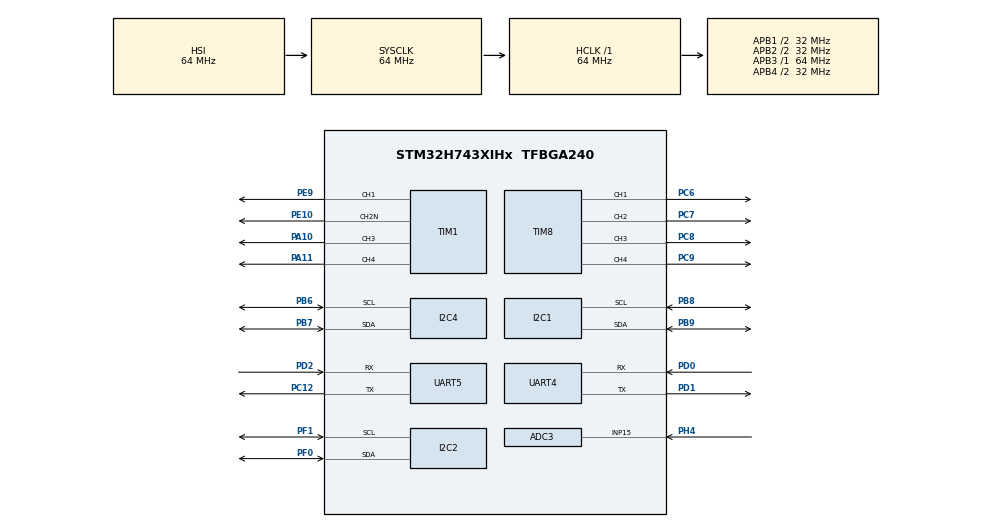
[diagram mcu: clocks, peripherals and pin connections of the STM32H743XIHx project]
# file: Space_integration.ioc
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ADC3.Channel-0\#ChannelRegularConversion=ADC_CHANNEL_15
ADC3.NbrOfConversionFlag=1
ADC3.OffsetNumber-0\#ChannelRegularConversion=ADC_OFFSET_NONE
ADC3.OffsetSignedSaturation-0\#ChannelRegularConversion=DISABLE
ADC3.Rank-0\#ChannelRegularConversion=1
ADC3.SamplingTime-0\#ChannelRegularConversion=ADC_SAMPLETIME_1CYCLE_5
CORTEX_M7.default_mode_Activation=1
I2C1.Timing=0x00707CBB
I2C2.Timing=0x00707CBB
I2C4.Timing=0x00707CBB
Mcu.Family=STM32H7
Mcu.Name=STM32H743XIHx
Mcu.Package=TFBGA240
NVIC.PriorityGroup=NVIC_PRIORITYGROUP_4
PA10.Signal=S_TIM1_CH3
PA11.Signal=S_TIM1_CH4
PB6.Mode=I2C
PB6.Signal=I2C4_SCL
PB7.Mode=I2C
PB7.Signal=I2C4_SDA
PB8.Mode=I2C
PB8.Signal=I2C1_SCL
PB9.Mode=I2C
PB9.Signal=I2C1_SDA
PC12.Mode=Asynchronous
PC12.Signal=UART5_TX
PC6.Signal=S_TIM8_CH1
PC7.Signal=S_TIM8_CH2
PC8.Signal=S_TIM8_CH3
PC9.Signal=S_TIM8_CH4
PD0.Mode=Asynchronous
PD0.Signal=UART4_RX
PD1.Mode=Asynchronous
PD1.Signal=UART4_TX
PD2.Mode=Asynchronous
PD2.Signal=UART5_RX
PE10.Mode=PWM Generation2 CH2N
PE10.Signal=TIM1_CH2N
PE9.Signal=S_TIM1_CH1
PF0.Mode=I2C
PF0.Signal=I2C2_SDA
PF1.Mode=I2C
PF1.Signal=I2C2_SCL
PH4.Mode=IN15-Single-Ended
PH4.Signal=ADC3_INP15
ProjectManager.HeapSize=0x200
ProjectManager.StackSize=0x400
ProjectManager.TargetToolchain=STM32CubeIDE
RCC.ADCFreq_Value=80000000
RCC.APB1Freq_Value=32000000
RCC.APB2Freq_Value=32000000
RCC.APB3Freq_Value=64000000
RCC.APB4Freq_Value=32000000
RCC.CortexFreq_Value=64000000
RCC.D2PPRE1=RCC_APB1_DIV2
RCC.D2PPRE2=RCC_APB2_DIV2
RCC.D3PPRE=RCC_APB4_DIV2
RCC.DIVM2=4
RCC.DIVN2=10
RCC.HCLKFreq_Value=64000000
RCC.PLL2FRACN=0
RCC.SYSCLKFreq_VALUE=64000000
RCC.USBFreq_Value=129000000
SH.S_TIM1_CH1.0=TIM1_CH1,PWM Generation1 CH1
SH.S_TIM1_CH3.0=TIM1_CH3,PWM Generation3 CH3
SH.S_TIM1_CH4.0=TIM1_CH4,PWM Generation4 CH4
SH.S_TIM8_CH1.0=TIM8_CH1,PWM Generation1 CH1
SH.S_TIM8_CH2.0=TIM8_CH2,PWM Generation2 CH2
SH.S_TIM8_CH3.0=TIM8_CH3,PWM Generation3 CH3
SH.S_TIM8_CH4.0=TIM8_CH4,PWM Generation4 CH4
TIM1.Channel-PWM\ Generation1\ CH1=TIM_CHANNEL_1
TIM1.Channel-PWM\ Generation2\ CH2N=TIM_CHANNEL_2
TIM1.Channel-PWM\ Generation3\ CH3=TIM_CHANNEL_3
TIM1.Channel-PWM\ Generation4\ CH4=TIM_CHANNEL_4
TIM8.Channel-PWM\ Generation1\ CH1=TIM_CHANNEL_1
TIM8.Channel-PWM\ Generation2\ CH2=TIM_CHANNEL_2
TIM8.Channel-PWM\ Generation3\ CH3=TIM_CHANNEL_3
TIM8.Channel-PWM\ Generation4\ CH4=TIM_CHANNEL_4
VP_IWDG1_VS_IWDG.Mode=IWDG_Activate
VP_MEMORYMAP_VS_MEMORYMAP.Mode=CurAppReg
board=custom

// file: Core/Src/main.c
/* USER CODE BEGIN Header */
/**
  ******************************************************************************
  * @file           : main.c
  * @brief          : Main program body
  ******************************************************************************
  * @attention
  *
  * Copyright (c) 2026 STMicroelectronics.
  * All rights reserved.
  *
  * This software is licensed under terms that can be found in the LICENSE file
  * in the root directory of this software component.
  * If no LICENSE file comes with this software, it is provided AS-IS.
  *
  ******************************************************************************
  */
/* USER CODE END Header */
#include "main.h"

/* USER CODE BEGIN Includes */
#include "main.h"
#include <acs/acs_task.h>
#include "common/fsw_ctx.h"
#include "eps/eps.h"
#include "payload/payload.h"
#include "stm/stm.h"
/* USER CODE END Includes */

/* USER CODE BEGIN PD */
#define DT_CTRL_MS 100
/* USER CODE END PD */

ADC_HandleTypeDef hadc3;

I2C_HandleTypeDef hi2c1;
I2C_HandleTypeDef hi2c2;
I2C_HandleTypeDef hi2c4;

IWDG_HandleTypeDef hiwdg1;

TIM_HandleTypeDef htim1;
TIM_HandleTypeDef htim8;

UART_HandleTypeDef huart4;
UART_HandleTypeDef huart5;

void SystemClock_Config(void);
static void MPU_Config(void);
static void MX_GPIO_Init(void);
static void MX_IWDG1_Init(void);
static void MX_UART5_Init(void);
static void MX_ADC3_Init(void);
static void MX_TIM1_Init(void);
static void MX_TIM8_Init(void);
static void MX_UART4_Init(void);
static void MX_I2C1_Init(void);
static void MX_I2C2_Init(void);
static void MX_I2C4_Init(void);

int main(void)
{

  /* MPU Configuration--------------------------------------------------------*/
  MPU_Config();

  /* MCU Configuration--------------------------------------------------------*/

  /* Reset of all peripherals, Initializes the Flash interface and the Systick. */
  HAL_Init();

  /* Configure the system clock */
  SystemClock_Config();

  /* Initialize all configured peripherals */
  MX_GPIO_Init();
  MX_IWDG1_Init();
  MX_UART5_Init();
  MX_ADC3_Init();
  MX_TIM1_Init();
  MX_TIM8_Init();
  MX_UART4_Init();
  MX_I2C1_Init();
  MX_I2C2_Init();
  MX_I2C4_Init();
  /* USER CODE BEGIN 2 */
  static fsw_ctx_t ctx = {0};
  sat_mode_t mode = MODE_NOMINAL;
  uint32_t next = HAL_GetTick();

  //ads_init();
  //acs_init();
  eps_init(&ctx);
  //comms_init();
  /* USER CODE END 2 */

  /* Infinite loop */
  /* USER CODE BEGIN WHILE */
  while (1)
  {
      mode = sm_update(&ctx, mode);   /* 1. decide mode (flags from last cycle) */

      //ads_task(mode, &ctx);           /* 2. producers first ...                 */
      payload_task(mode, &ctx, &hi2c1, &huart4);       /*    science_window before ACS reads it  */
      acs_task(mode, &ctx);           /*    consumer                            */
      //comms_task(mode, &ctx);         /*    ground_contact -> SM next cycle      */

      HAL_IWDG_Refresh(&hiwdg1);       /* 3. kick only on a healthy full cycle   */
      next += DT_CTRL_MS;             /*    fixed-rate anchor, not HAL_Delay     */
      while ((int32_t)(HAL_GetTick() - next) < 0) { /* idle */ }
    /* USER CODE END WHILE */

  }
}

void SystemClock_Config(void)
{
  RCC_OscInitTypeDef RCC_OscInitStruct = {0};
  RCC_ClkInitTypeDef RCC_ClkInitStruct = {0};

  /** Supply configuration update enable
  */
  HAL_PWREx_ConfigSupply(PWR_LDO_SUPPLY);

  /** Configure the main internal regulator output voltage
  */
  __HAL_PWR_VOLTAGESCALING_CONFIG(PWR_REGULATOR_VOLTAGE_SCALE3);

  while(!__HAL_PWR_GET_FLAG(PWR_FLAG_VOSRDY)) {}

  /** Macro to configure the PLL clock source
  */
  __HAL_RCC_PLL_PLLSOURCE_CONFIG(RCC_PLLSOURCE_HSI);

  /** Initializes the RCC Oscillators according to the specified parameters
  * in the RCC_OscInitTypeDef structure.
  */
  RCC_OscInitStruct.OscillatorType = RCC_OSCILLATORTYPE_HSI|RCC_OSCILLATORTYPE_LSI;
  RCC_OscInitStruct.HSIState = RCC_HSI_DIV1;
  RCC_OscInitStruct.HSICalibrationValue = RCC_HSICALIBRATION_DEFAULT;
  RCC_OscInitStruct.LSIState = RCC_LSI_ON;
  RCC_OscInitStruct.PLL.PLLState = RCC_PLL_NONE;
  if (HAL_RCC_OscConfig(&RCC_OscInitStruct) != HAL_OK)
  {
    Error_Handler();
  }

  /** Initializes the CPU, AHB and APB buses clocks
  */
  RCC_ClkInitStruct.ClockType = RCC_CLOCKTYPE_HCLK|RCC_CLOCKTYPE_SYSCLK
                              |RCC_CLOCKTYPE_PCLK1|RCC_CLOCKTYPE_PCLK2
                              |RCC_CLOCKTYPE_D3PCLK1|RCC_CLOCKTYPE_D1PCLK1;
  RCC_ClkInitStruct.SYSCLKSource = RCC_SYSCLKSOURCE_HSI;
  RCC_ClkInitStruct.SYSCLKDivider = RCC_SYSCLK_DIV1;
  RCC_ClkInitStruct.AHBCLKDivider = RCC_HCLK_DIV1;
  RCC_ClkInitStruct.APB3CLKDivider = RCC_APB3_DIV1;
  RCC_ClkInitStruct.APB1CLKDivider = RCC_APB1_DIV2;
  RCC_ClkInitStruct.APB2CLKDivider = RCC_APB2_DIV2;
  RCC_ClkInitStruct.APB4CLKDivider = RCC_APB4_DIV2;

  if (HAL_RCC_ClockConfig(&RCC_ClkInitStruct, FLASH_LATENCY_1) != HAL_OK)
  {
    Error_Handler();
  }
}

static void MX_ADC3_Init(void)
{

  ADC_ChannelConfTypeDef sConfig = {0};

  /** Common config
  */
  hadc3.Instance = ADC3;
  hadc3.Init.Resolution = ADC_RESOLUTION_16B;
  hadc3.Init.ScanConvMode = ADC_SCAN_DISABLE;
  hadc3.Init.EOCSelection = ADC_EOC_SINGLE_CONV;
  hadc3.Init.LowPowerAutoWait = DISABLE;
  hadc3.Init.ContinuousConvMode = DISABLE;
  hadc3.Init.NbrOfConversion = 1;
  hadc3.Init.DiscontinuousConvMode = DISABLE;
  hadc3.Init.ExternalTrigConv = ADC_SOFTWARE_START;
  hadc3.Init.ExternalTrigConvEdge = ADC_EXTERNALTRIGCONVEDGE_NONE;
  hadc3.Init.ConversionDataManagement = ADC_CONVERSIONDATA_DR;
  hadc3.Init.Overrun = ADC_OVR_DATA_PRESERVED;
  hadc3.Init.LeftBitShift = ADC_LEFTBITSHIFT_NONE;
  hadc3.Init.OversamplingMode = DISABLE;
  hadc3.Init.Oversampling.Ratio = 1;
  if (HAL_ADC_Init(&hadc3) != HAL_OK)
  {
    Error_Handler();
  }

  /** Configure Regular Channel
  */
  sConfig.Channel = ADC_CHANNEL_15;
  sConfig.Rank = ADC_REGULAR_RANK_1;
  sConfig.SamplingTime = ADC_SAMPLETIME_1CYCLE_5;
  sConfig.SingleDiff = ADC_SINGLE_ENDED;
  sConfig.OffsetNumber = ADC_OFFSET_NONE;
  sConfig.Offset = 0;
  sConfig.OffsetSignedSaturation = DISABLE;
  if (HAL_ADC_ConfigChannel(&hadc3, &sConfig) != HAL_OK)
  {
    Error_Handler();
  }

}

static void MX_I2C1_Init(void)
{

  hi2c1.Instance = I2C1;
  hi2c1.Init.Timing = 0x00707CBB;
  hi2c1.Init.OwnAddress1 = 0;
  hi2c1.Init.AddressingMode = I2C_ADDRESSINGMODE_7BIT;
  hi2c1.Init.DualAddressMode = I2C_DUALADDRESS_DISABLE;
  hi2c1.Init.OwnAddress2 = 0;
  hi2c1.Init.OwnAddress2Masks = I2C_OA2_NOMASK;
  hi2c1.Init.GeneralCallMode = I2C_GENERALCALL_DISABLE;
  hi2c1.Init.NoStretchMode = I2C_NOSTRETCH_DISABLE;
  if (HAL_I2C_Init(&hi2c1) != HAL_OK)
  {
    Error_Handler();
  }

  /** Configure Analogue filter
  */
  if (HAL_I2CEx_ConfigAnalogFilter(&hi2c1, I2C_ANALOGFILTER_ENABLE) != HAL_OK)
  {
    Error_Handler();
  }

  /** Configure Digital filter
  */
  if (HAL_I2CEx_ConfigDigitalFilter(&hi2c1, 0) != HAL_OK)
  {
    Error_Handler();
  }

}

static void MX_I2C2_Init(void)
{

  hi2c2.Instance = I2C2;
  hi2c2.Init.Timing = 0x00707CBB;
  hi2c2.Init.OwnAddress1 = 0;
  hi2c2.Init.AddressingMode = I2C_ADDRESSINGMODE_7BIT;
  hi2c2.Init.DualAddressMode = I2C_DUALADDRESS_DISABLE;
  hi2c2.Init.OwnAddress2 = 0;
  hi2c2.Init.OwnAddress2Masks = I2C_OA2_NOMASK;
  hi2c2.Init.GeneralCallMode = I2C_GENERALCALL_DISABLE;
  hi2c2.Init.NoStretchMode = I2C_NOSTRETCH_DISABLE;
  if (HAL_I2C_Init(&hi2c2) != HAL_OK)
  {
    Error_Handler();
  }

  /** Configure Analogue filter
  */
  if (HAL_I2CEx_ConfigAnalogFilter(&hi2c2, I2C_ANALOGFILTER_ENABLE) != HAL_OK)
  {
    Error_Handler();
  }

  /** Configure Digital filter
  */
  if (HAL_I2CEx_ConfigDigitalFilter(&hi2c2, 0) != HAL_OK)
  {
    Error_Handler();
  }

}

static void MX_I2C4_Init(void)
{

  hi2c4.Instance = I2C4;
  hi2c4.Init.Timing = 0x00707CBB;
  hi2c4.Init.OwnAddress1 = 0;
  hi2c4.Init.AddressingMode = I2C_ADDRESSINGMODE_7BIT;
  hi2c4.Init.DualAddressMode = I2C_DUALADDRESS_DISABLE;
  hi2c4.Init.OwnAddress2 = 0;
  hi2c4.Init.OwnAddress2Masks = I2C_OA2_NOMASK;
  hi2c4.Init.GeneralCallMode = I2C_GENERALCALL_DISABLE;
  hi2c4.Init.NoStretchMode = I2C_NOSTRETCH_DISABLE;
  if (HAL_I2C_Init(&hi2c4) != HAL_OK)
  {
    Error_Handler();
  }

  /** Configure Analogue filter
  */
  if (HAL_I2CEx_ConfigAnalogFilter(&hi2c4, I2C_ANALOGFILTER_ENABLE) != HAL_OK)
  {
    Error_Handler();
  }

  /** Configure Digital filter
  */
  if (HAL_I2CEx_ConfigDigitalFilter(&hi2c4, 0) != HAL_OK)
  {
    Error_Handler();
  }

}

static void MX_IWDG1_Init(void)
{

  hiwdg1.Instance = IWDG1;
  hiwdg1.Init.Prescaler = IWDG_PRESCALER_4;
  hiwdg1.Init.Window = 4095;
  hiwdg1.Init.Reload = 4095;
  if (HAL_IWDG_Init(&hiwdg1) != HAL_OK)
  {
    Error_Handler();
  }

}

static void MX_TIM1_Init(void)
{

  TIM_MasterConfigTypeDef sMasterConfig = {0};
  TIM_OC_InitTypeDef sConfigOC = {0};
  TIM_BreakDeadTimeConfigTypeDef sBreakDeadTimeConfig = {0};

  htim1.Instance = TIM1;
  htim1.Init.Prescaler = 0;
  htim1.Init.CounterMode = TIM_COUNTERMODE_UP;
  htim1.Init.Period = 65535;
  htim1.Init.ClockDivision = TIM_CLOCKDIVISION_DIV1;
  htim1.Init.RepetitionCounter = 0;
  htim1.Init.AutoReloadPreload = TIM_AUTORELOAD_PRELOAD_DISABLE;
  if (HAL_TIM_PWM_Init(&htim1) != HAL_OK)
  {
    Error_Handler();
  }
  sMasterConfig.MasterOutputTrigger = TIM_TRGO_RESET;
  sMasterConfig.MasterOutputTrigger2 = TIM_TRGO2_RESET;
  sMasterConfig.MasterSlaveMode = TIM_MASTERSLAVEMODE_DISABLE;
  if (HAL_TIMEx_MasterConfigSynchronization(&htim1, &sMasterConfig) != HAL_OK)
  {
    Error_Handler();
  }
  sConfigOC.OCMode = TIM_OCMODE_PWM1;
  sConfigOC.Pulse = 0;
  sConfigOC.OCPolarity = TIM_OCPOLARITY_HIGH;
  sConfigOC.OCNPolarity = TIM_OCNPOLARITY_HIGH;
  sConfigOC.OCFastMode = TIM_OCFAST_DISABLE;
  sConfigOC.OCIdleState = TIM_OCIDLESTATE_RESET;
  sConfigOC.OCNIdleState = TIM_OCNIDLESTATE_RESET;
  if (HAL_TIM_PWM_ConfigChannel(&htim1, &sConfigOC, TIM_CHANNEL_1) != HAL_OK)
  {
    Error_Handler();
  }
  if (HAL_TIM_PWM_ConfigChannel(&htim1, &sConfigOC, TIM_CHANNEL_2) != HAL_OK)
  {
    Error_Handler();
  }
  if (HAL_TIM_PWM_ConfigChannel(&htim1, &sConfigOC, TIM_CHANNEL_3) != HAL_OK)
  {
    Error_Handler();
  }
  if (HAL_TIM_PWM_ConfigChannel(&htim1, &sConfigOC, TIM_CHANNEL_4) != HAL_OK)
  {
    Error_Handler();
  }
  sBreakDeadTimeConfig.OffStateRunMode = TIM_OSSR_DISABLE;
  sBreakDeadTimeConfig.OffStateIDLEMode = TIM_OSSI_DISABLE;
  sBreakDeadTimeConfig.LockLevel = TIM_LOCKLEVEL_OFF;
  sBreakDeadTimeConfig.DeadTime = 0;
  sBreakDeadTimeConfig.BreakState = TIM_BREAK_DISABLE;
  sBreakDeadTimeConfig.BreakPolarity = TIM_BREAKPOLARITY_HIGH;
  sBreakDeadTimeConfig.BreakFilter = 0;
  sBreakDeadTimeConfig.Break2State = TIM_BREAK2_DISABLE;
  sBreakDeadTimeConfig.Break2Polarity = TIM_BREAK2POLARITY_HIGH;
  sBreakDeadTimeConfig.Break2Filter = 0;
  sBreakDeadTimeConfig.AutomaticOutput = TIM_AUTOMATICOUTPUT_DISABLE;
  if (HAL_TIMEx_ConfigBreakDeadTime(&htim1, &sBreakDeadTimeConfig) != HAL_OK)
  {
    Error_Handler();
  }
  HAL_TIM_MspPostInit(&htim1);

}

static void MX_TIM8_Init(void)
{

  TIM_MasterConfigTypeDef sMasterConfig = {0};
  TIM_OC_InitTypeDef sConfigOC = {0};
  TIM_BreakDeadTimeConfigTypeDef sBreakDeadTimeConfig = {0};

  htim8.Instance = TIM8;
  htim8.Init.Prescaler = 0;
  htim8.Init.CounterMode = TIM_COUNTERMODE_UP;
  htim8.Init.Period = 65535;
  htim8.Init.ClockDivision = TIM_CLOCKDIVISION_DIV1;
  htim8.Init.RepetitionCounter = 0;
  htim8.Init.AutoReloadPreload = TIM_AUTORELOAD_PRELOAD_DISABLE;
  if (HAL_TIM_PWM_Init(&htim8) != HAL_OK)
  {
    Error_Handler();
  }
  sMasterConfig.MasterOutputTrigger = TIM_TRGO_RESET;
  sMasterConfig.MasterOutputTrigger2 = TIM_TRGO2_RESET;
  sMasterConfig.MasterSlaveMode = TIM_MASTERSLAVEMODE_DISABLE;
  if (HAL_TIMEx_MasterConfigSynchronization(&htim8, &sMasterConfig) != HAL_OK)
  {
    Error_Handler();
  }
  sConfigOC.OCMode = TIM_OCMODE_PWM1;
  sConfigOC.Pulse = 0;
  sConfigOC.OCPolarity = TIM_OCPOLARITY_HIGH;
  sConfigOC.OCNPolarity = TIM_OCNPOLARITY_HIGH;
  sConfigOC.OCFastMode = TIM_OCFAST_DISABLE;
  sConfigOC.OCIdleState = TIM_OCIDLESTATE_RESET;
  sConfigOC.OCNIdleState = TIM_OCNIDLESTATE_RESET;
  if (HAL_TIM_PWM_ConfigChannel(&htim8, &sConfigOC, TIM_CHANNEL_1) != HAL_OK)
  {
    Error_Handler();
  }
  if (HAL_TIM_PWM_ConfigChannel(&htim8, &sConfigOC, TIM_CHANNEL_2) != HAL_OK)
  {
    Error_Handler();
  }
  if (HAL_TIM_PWM_ConfigChannel(&htim8, &sConfigOC, TIM_CHANNEL_3) != HAL_OK)
  {
    Error_Handler();
  }
  if (HAL_TIM_PWM_ConfigChannel(&htim8, &sConfigOC, TIM_CHANNEL_4) != HAL_OK)
  {
    Error_Handler();
  }
  sBreakDeadTimeConfig.OffStateRunMode = TIM_OSSR_DISABLE;
  sBreakDeadTimeConfig.OffStateIDLEMode = TIM_OSSI_DISABLE;
  sBreakDeadTimeConfig.LockLevel = TIM_LOCKLEVEL_OFF;
  sBreakDeadTimeConfig.DeadTime = 0;
  sBreakDeadTimeConfig.BreakState = TIM_BREAK_DISABLE;
  sBreakDeadTimeConfig.BreakPolarity = TIM_BREAKPOLARITY_HIGH;
  sBreakDeadTimeConfig.BreakFilter = 0;
  sBreakDeadTimeConfig.Break2State = TIM_BREAK2_DISABLE;
  sBreakDeadTimeConfig.Break2Polarity = TIM_BREAK2POLARITY_HIGH;
  sBreakDeadTimeConfig.Break2Filter = 0;
  sBreakDeadTimeConfig.AutomaticOutput = TIM_AUTOMATICOUTPUT_DISABLE;
  if (HAL_TIMEx_ConfigBreakDeadTime(&htim8, &sBreakDeadTimeConfig) != HAL_OK)
  {
    Error_Handler();
  }
  HAL_TIM_MspPostInit(&htim8);

}

static void MX_UART4_Init(void)
{

  huart4.Instance = UART4;
  huart4.Init.BaudRate = 115200;
  huart4.Init.WordLength = UART_WORDLENGTH_8B;
  huart4.Init.StopBits = UART_STOPBITS_1;
  huart4.Init.Parity = UART_PARITY_NONE;
  huart4.Init.Mode = UART_MODE_TX_RX;
  huart4.Init.HwFlowCtl = UART_HWCONTROL_NONE;
  huart4.Init.OverSampling = UART_OVERSAMPLING_16;
  huart4.Init.OneBitSampling = UART_ONE_BIT_SAMPLE_DISABLE;
  huart4.Init.ClockPrescaler = UART_PRESCALER_DIV1;
  huart4.AdvancedInit.AdvFeatureInit = UART_ADVFEATURE_NO_INIT;
  if (HAL_UART_Init(&huart4) != HAL_OK)
  {
    Error_Handler();
  }
  if (HAL_UARTEx_SetTxFifoThreshold(&huart4, UART_TXFIFO_THRESHOLD_1_8) != HAL_OK)
  {
    Error_Handler();
  }
  if (HAL_UARTEx_SetRxFifoThreshold(&huart4, UART_RXFIFO_THRESHOLD_1_8) != HAL_OK)
  {
    Error_Handler();
  }
  if (HAL_UARTEx_DisableFifoMode(&huart4) != HAL_OK)
  {
    Error_Handler();
  }

}

static void MX_UART5_Init(void)
{

  huart5.Instance = UART5;
  huart5.Init.BaudRate = 115200;
  huart5.Init.WordLength = UART_WORDLENGTH_8B;
  huart5.Init.StopBits = UART_STOPBITS_1;
  huart5.Init.Parity = UART_PARITY_NONE;
  huart5.Init.Mode = UART_MODE_TX_RX;
  huart5.Init.HwFlowCtl = UART_HWCONTROL_NONE;
  huart5.Init.OverSampling = UART_OVERSAMPLING_16;
  huart5.Init.OneBitSampling = UART_ONE_BIT_SAMPLE_DISABLE;
  huart5.Init.ClockPrescaler = UART_PRESCALER_DIV1;
  huart5.AdvancedInit.AdvFeatureInit = UART_ADVFEATURE_NO_INIT;
  if (HAL_UART_Init(&huart5) != HAL_OK)
  {
    Error_Handler();
  }
  if (HAL_UARTEx_SetTxFifoThreshold(&huart5, UART_TXFIFO_THRESHOLD_1_8) != HAL_OK)
  {
    Error_Handler();
  }
  if (HAL_UARTEx_SetRxFifoThreshold(&huart5, UART_RXFIFO_THRESHOLD_1_8) != HAL_OK)
  {
    Error_Handler();
  }
  if (HAL_UARTEx_DisableFifoMode(&huart5) != HAL_OK)
  {
    Error_Handler();
  }

}

static void MX_GPIO_Init(void)
{

  /* GPIO Ports Clock Enable */
  __HAL_RCC_GPIOB_CLK_ENABLE();
  __HAL_RCC_GPIOC_CLK_ENABLE();
  __HAL_RCC_GPIOD_CLK_ENABLE();
  __HAL_RCC_GPIOA_CLK_ENABLE();
  __HAL_RCC_GPIOF_CLK_ENABLE();
  __HAL_RCC_GPIOE_CLK_ENABLE();
  __HAL_RCC_GPIOH_CLK_ENABLE();

}

 /* MPU Configuration */

void MPU_Config(void)
{
  MPU_Region_InitTypeDef MPU_InitStruct = {0};

  /* Disables the MPU */
  HAL_MPU_Disable();

  /** Initializes and configures the Region and the memory to be protected
  */
  MPU_InitStruct.Enable = MPU_REGION_ENABLE;
  MPU_InitStruct.Number = MPU_REGION_NUMBER0;
  MPU_InitStruct.BaseAddress = 0x0;
  MPU_InitStruct.Size = MPU_REGION_SIZE_4GB;
  MPU_InitStruct.SubRegionDisable = 0x87;
  MPU_InitStruct.TypeExtField = MPU_TEX_LEVEL0;
  MPU_InitStruct.AccessPermission = MPU_REGION_NO_ACCESS;
  MPU_InitStruct.DisableExec = MPU_INSTRUCTION_ACCESS_DISABLE;
  MPU_InitStruct.IsShareable = MPU_ACCESS_SHAREABLE;
  MPU_InitStruct.IsCacheable = MPU_ACCESS_NOT_CACHEABLE;
  MPU_InitStruct.IsBufferable = MPU_ACCESS_NOT_BUFFERABLE;

  HAL_MPU_ConfigRegion(&MPU_InitStruct);
  /* Enables the MPU */
  HAL_MPU_Enable(MPU_PRIVILEGED_DEFAULT);

}

void Error_Handler(void)
{
  __disable_irq();
  while (1)
  {
  }
}
